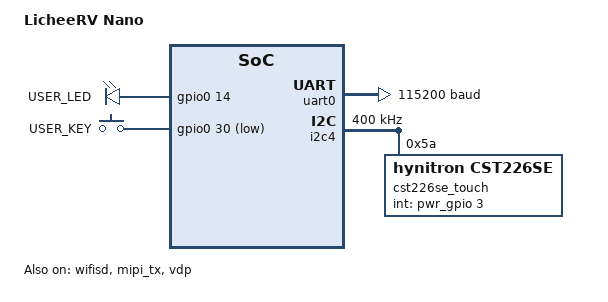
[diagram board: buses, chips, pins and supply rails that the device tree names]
/*
 * Copyright (c) 2024 Kejun Zhou <zhoukejun@outlook.com>
 *
 * SPDX-License-Identifier: Apache-2.0
 */

/dts-v1/;
#include <mem.h>
#include <zephyr/dt-bindings/gpio/gpio.h>
#include "../../../../dts/riscv/sophgo/sg200x-c906b.dtsi"
#include "licheerv_nano_c906b-pinctrl.dtsi"

/ {

	model = "LicheeRV Nano";
	compatible = "licheerv_nano";
	chosen {
		zephyr,sram = &sram;
		zephyr,console = &uart0;
		zephyr,shell-uart = &uart0;
	};

	leds {
		compatible = "gpio-leds";
		user_led0: led {
			label = "USER_LED";
			gpios = <&gpio0 14 GPIO_ACTIVE_HIGH>;
		};

	};

	gpio_keys {
		compatible = "gpio-keys";

		user_button0: button {
			label = "USER_KEY";
			gpios = <&gpio0 30 GPIO_ACTIVE_LOW>;
		};
	};
/*
        lvgl_pointer {
                compatible = "zephyr,lvgl-pointer-input";
                input = <&cst226se_touch>;
                swap-xy;
        };
*/
        aliases {
                led0 = &user_led0;
                sw0 = &user_button0;
	};
};

&clk {
	status = "okay";
};

&gpio0 {
	status = "okay";
};

&gpio1 {
	status = "okay";
};

&uart0 {
	current-speed = <115200>;
	pinctrl-0 = <&uart0_tx_default &uart0_rx_default>;
	pinctrl-names = "default";
	status = "okay";
};

&uart2 {
	current-speed = <115200>;
	pinctrl-0 = <&uart2_tx_default &uart2_rx_default>;
	pinctrl-names = "default";
	status = "disabled";
};

&uart3 {
	current-speed = <115200>;
	pinctrl-0 = <&uart3_tx_default &uart3_rx_default>;
	pinctrl-names = "default";
	status = "disabled";
};

&i2c4 {
        pinctrl-0 = <&i2c4_scl_default &i2c4_sda_default>;
        pinctrl-names = "default";
        clock-frequency = <I2C_BITRATE_FAST>;
        status = "okay";

        cst226se_touch: cst226se@5a {
                compatible = "hynitron,cst226se";
                reg = <0x5a>;
                int-gpios = <&pwr_gpio 3 GPIO_ACTIVE_HIGH>;
        };
};


&sd {
        min-frequency = <400000>; // 400Khz
        max-frequency = <25000000>; // 25Mhz

	pinctrl-0 = <&sd0_d0_default	\
		     &sd0_d1_default	\
		     &sd0_d2_default	\
		     &sd0_d3_default	\
		     &sd0_clk_default	\
		     &sd0_cmd_default>;
	pinctrl-names = "default";
//	status = "okay";
	status = "disabled";
};


&wifisd {
	cap-sd-highspeed;
	sd-uhs-sdr25;
	sd-uhs-ddr50;
	sd-uhs-sdr104;
	min-frequency = <400000>;
	max-frequency = <187500000>;

	pinctrl-0 = <&sdio1_d0_default	\
		     &sdio1_d1_default	\
		     &sdio1_d2_default	\
		     &sdio1_d3_default	\
		     &sdio1_clk_default	\
		     &sdio1_cmd_default	\
		     &wf_pwr_en_default>;
	pinctrl-names = "default";
	pwr-en-gpios = <&gpio0 26 GPIO_ACTIVE_HIGH>;
	status = "okay";
};

&mipi_tx {
	status = "okay";
/*
        xxx: xxx@0 {
                compatible = "xxx,xxx";
                reg = <0x0>;
                height = <800>;
                width = <480>;
		reset-gpio = <&pwr_gpio 0 GPIO_ACTIVE_LOW>;
                bl-gpios = <&gpio1 0 GPIO_ACTIVE_HIGH>;
	//	pwms = <&pwm 0 PWM_MSEC(20) PWM_POLARITY_NORMAL>;
		status = "disabled";
        };
*/
};

&vdp {
        status = "okay";
        width = <480>;
        height = <272>;
#if 0
        display-timings {
//                compatible = "zephyr,panel-timing";

                hsa_pixels = <4>;
                hbp_pixels = <53>;
                hfp_pixels = <53>;
                hline_pixels = <480>;
                vsa_lines = <4>;
                vbp_lines = <12>;
                vfp_lines = <32>;
                active_lines = <1920>;
		#define VSA_POLARITY_LOW	0
		#define HSA_POLARITY_HI		1
                vsa_pos_polarity = <VSA_POLARITY_LOW>;
                hsa_pos_polarity = <HSA_POLARITY_HI>;

                hsync-len = <41>;
                hfront-porch = <4>;
                hback-porch = <8>;
                vsync-len = <10>;
                vfront-porch = <4>;
                vback-porch = <2>;
                de-active= <1>;
                pixelclk-active = <1>;
                hsync-active = <0>;
                vsync-active = <0>;
                clock-frequency = <9210240>;
        };
#endif

        backlight-gpios = <&gpio1 0 GPIO_ACTIVE_HIGH>;
        pixel-format = <PANEL_PIXEL_FORMAT_BGR_565>;
        pinctrl-0 = <&mipi_tx0_p_default
		     &mipi_tx0_n_default
		     &mipi_tx1_p_default
		     &mipi_tx1_n_default
		     &mipi_tx2_p_default
		     &mipi_tx2_n_default>;
        pinctrl-names = "default";
};

